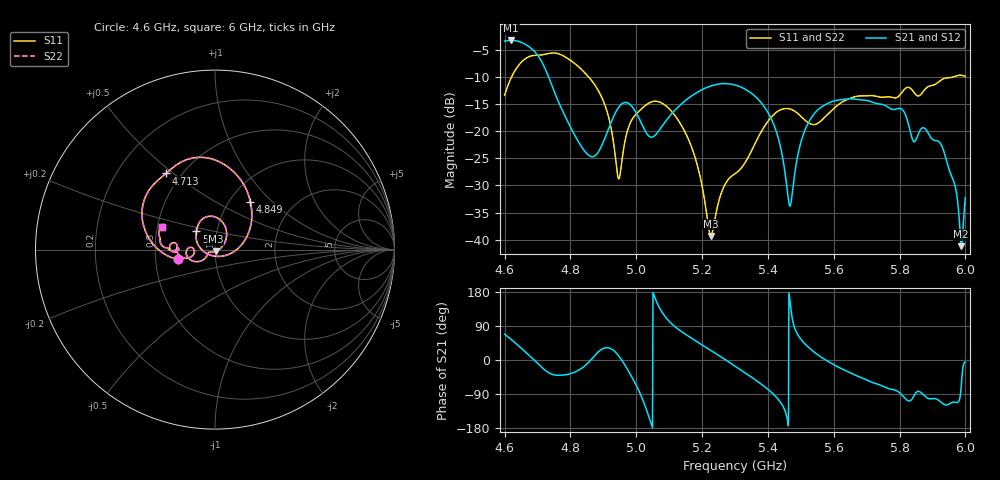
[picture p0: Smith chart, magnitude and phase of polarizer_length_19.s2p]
! TOUCHSTONE file generated by CST MICROWAVE STUDIO
! Date and time: Sun Dec  1 17:17:03 2024
! Project name: test_tuning.cst
! Parameters = {airCoaxOuterDiameter=3; chamferAngle=45; chamferWidth=24; connectorLength=10; drillingHoleDiameter=4.1; feedLength=60; flareDiameter=130; flareLength=70; gratingDistance=0; gratingGap=1.90274; outletLength=30; polarizerLength=100; probe1Diameter=1.3; probe1Distance=14; probe1Length=1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
! Header version: 2024
! Port assignment regex: !\s*Touchstone port\s*([0-9]+)\s*=\s*(CST MWS port|CST DES external port|CST DES block port)\s*(.+)\s* \(\"(.*)\"\)(\s*mode\s*([0-9]+))?.*
! Touchstone port assignment:
! Touchstone port 1 = CST MWS port 1 ("Input1")
! Touchstone port 2 = CST MWS port 2 ("Input2")
# GHz S MA R 50
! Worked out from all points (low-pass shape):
!   1001 points, 4.6 GHz to 6 GHz, reference 50 ohm
!   highest |S21| = -3.28 dB at 4.62 GHz (marker M1); lowest = -41.2 dB at 5.987 GHz (marker M2)
!   |S21| within 3 dB of the highest: start of sweep to 4.703 GHz
!   lowest |S11| = -39.3 dB at 5.227 GHz (marker M3), VSWR 1.02, Z = 50.3 - j1.03 ohm
!   |S11| at or under -10 dB: start of sweep to 4.621156 GHz; 4.855 GHz to 5.963 GHz (1.108 GHz wide, 20.5 % of centre)
!   |S22| runs from -39.3 to -5.6 dB; largest |S21 - S12| = 7.4e-07
!   S11 on the Smith chart (normalised r, x): 4.6 GHz: 0.65, -0.08; 4.713 GHz: 0.41, +0.47; 4.849 GHz: 1.24, +0.74; 5 GHz: 0.80, +0.16; 6 GHz: 0.53, +0.15
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4.6  0.2134 -165.0  0.6757 68.1  0.6757 68.1  0.2134 -165.0
4.6196  0.3091 -179.1  0.6852 54.5  0.6852 54.5  0.3091 -179.1
4.6672  0.4742 147.7  0.6201 18.2  0.6201 18.2  0.4742 147.7
4.7134  0.505 122.8  0.4326 -19.8  0.4326 -19.8  0.505 122.8
4.8338  0.3697 60.9  0.07181 -22.0  0.07181 -22.0  0.3697 60.9
4.8492  0.331 53.5  0.06229 -11.2  0.06229 -11.2  0.331 53.5
4.9094  0.1581 12.7  0.09345 32.5  0.09345 32.5  0.1581 12.7
4.9458  0.03655 -92.3  0.1647 11.8  0.1647 11.8  0.03655 -92.3
5.0004  0.1447 135.6  0.1463 -67.5  0.1463 -67.5  0.1447 135.6
5.0676  0.1869 95.9  0.09983 142.7  0.09983 142.7  0.1869 95.9
5.1628  0.07833 40.9  0.2058 60.3  0.2058 60.3  0.07833 40.9
5.2272  0.01083 -71.3  0.2611 25.4  0.2611 25.4  0.01083 -71.3
5.3  0.04051 -156.4  0.2663 -16.1  0.2663 -16.1  0.04051 -156.4
5.4106  0.1349 -150.9  0.1293 -85.2  0.1293 -85.2  0.1349 -150.9
5.4666  0.1601 -176.5  0.02035 157.1  0.02035 157.1  0.1601 -176.5
5.4988  0.1381 174.8  0.0764 56.1  0.0764 56.1  0.1381 174.8
5.5338  0.1155 -177.9  0.1356 25.7  0.1356 25.7  0.1155 -177.9
5.7676  0.2073 177.4  0.1644 -75.8  0.1644 -75.8  0.2073 177.4
5.9258  0.2949 176.0  0.0755 -111.2  0.0755 -111.2  0.2949 176.0
5.9678  0.3196 166.3  0.03206 -111.4  0.03206 -111.4  0.3196 166.3
5.9874  0.3276 160.2  0.008704 -67.2  0.008703 -67.2  0.3276 160.2
6  0.3198 156.6  0.02452 -5.4  0.02452 -5.4  0.3198 156.6
